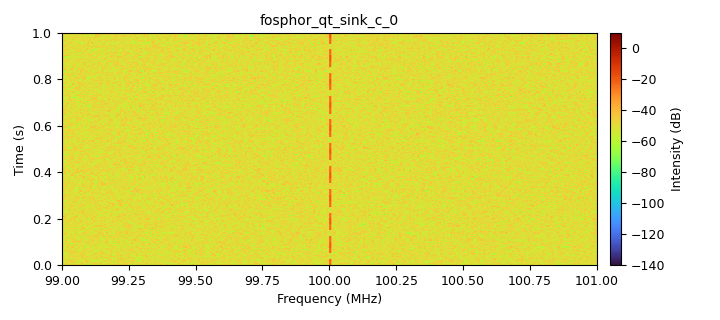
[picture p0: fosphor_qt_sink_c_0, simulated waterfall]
options:
  parameters:
    generate_options: qt_gui
    id: untitled
    output_language: python
    title: Not titled yet
  states: {}

blocks:
- name: dBm_ref_0dBFS
  id: variable
  parameters:
    value: dBm_ref_0dBFS_at_rf_gain_max + (rf_gain_max - rf_gain)
  states: {}
- name: dBm_ref_0dBFS_at_rf_gain_max
  id: variable
  parameters:
    value: '-50'
  states: {}
- name: freq_square
  id: variable_qtgui_range
  parameters:
    start: '0'
    step: '1'
    stop: '100'
    value: '10'
  states: {}
- name: rf_freq
  id: variable_qtgui_range
  parameters:
    start: 50e6
    step: 10e6
    stop: 6e9
    value: 100e6
  states: {}
- name: rf_gain
  id: variable_qtgui_range
  parameters:
    start: '0'
    step: '1'
    stop: rf_gain_max
    value: rf_gain_max
  states: {}
- name: rf_gain_max
  id: variable
  parameters:
    value: '60'
  states: {}
- name: rms_noise_dB
  id: variable_qtgui_range
  parameters:
    start: '-100'
    step: '1'
    stop: '20'
    value: '-20'
  states: {}
- name: rms_signal_dB
  id: variable_qtgui_range
  parameters:
    start: '-100'
    step: '1'
    stop: '20'
    value: '-20'
  states: {}
- name: samp_rate
  id: variable
  parameters:
    value: 1000*1000*2
  states: {}
- name: throttle_
  id: variable
  parameters:
    value: samp_rate
  states: {}
- name: waterfall_ms
  id: variable
  parameters:
    value: 1000*1024*976/samp_rate
  states: {}
- name: windowing_correction_dB
  id: variable
  parameters:
    value: '2'
  states: {}
- name: analog_const_source_x_0
  id: analog_const_source_x
  parameters:
    const: pow(10, rms_signal_dB/20)
    type: complex
  states: {}
- name: analog_const_source_x_0_0
  id: analog_const_source_x
  parameters:
    const: pow(10, rms_noise_dB/20)
    type: complex
  states: {}
- name: analog_fastnoise_source_x_0
  id: analog_fastnoise_source_x
  parameters:
    amp: '1'
    noise_type: analog.GR_GAUSSIAN
    samples: '8192'
    seed: '0'
    type: complex
  states: {}
- name: analog_sig_source_x_0
  id: analog_sig_source_x
  parameters:
    amp: '1'
    freq: freq_square
    offset: '0'
    phase: '0'
    samp_rate: samp_rate
    type: complex
    waveform: analog.GR_SQR_WAVE
  states: {}
- name: blocks_add_xx_0
  id: blocks_add_xx
  parameters:
    type: complex
  states: {}
- name: blocks_multiply_const_vxx_0
  id: blocks_multiply_const_vxx
  parameters:
    const: windowing_correction_dB
    type: complex
  states: {}
- name: blocks_multiply_const_vxx_0_0
  id: blocks_multiply_const_vxx
  parameters:
    const: pow(10, -(rf_gain_max - rf_gain)/20)
    type: complex
  states: {}
- name: blocks_multiply_xx_0
  id: blocks_multiply_xx
  parameters:
    type: complex
  states: {}
- name: blocks_multiply_xx_0_0
  id: blocks_multiply_xx
  parameters:
    type: complex
  states: {}
- name: blocks_throttle2_0
  id: blocks_throttle2
  parameters:
    samples_per_second: throttle_
    type: complex
  states: {}
- name: fosphor_glfw_sink_c_0
  id: fosphor_glfw_sink_c
  parameters:
    dBm_ref_0dBFS: dBm_ref_0dBFS
    freq_center: rf_freq
    freq_span: samp_rate
  states: {state: disabled}
- name: fosphor_qt_sink_c_0
  id: fosphor_qt_sink_c
  parameters:
    dBm_ref_0dBFS: dBm_ref_0dBFS
    freq_center: rf_freq
    freq_span: samp_rate
  states: {}

connections:
- [analog_const_source_x_0, '0', blocks_multiply_xx_0, '1']
- [analog_const_source_x_0_0, '0', blocks_multiply_xx_0_0, '0']
- [analog_fastnoise_source_x_0, '0', blocks_multiply_xx_0_0, '1']
- [analog_sig_source_x_0, '0', blocks_multiply_xx_0, '0']
- [blocks_add_xx_0, '0', blocks_multiply_const_vxx_0_0, '0']
- [blocks_multiply_const_vxx_0, '0', fosphor_glfw_sink_c_0, '0']
- [blocks_multiply_const_vxx_0, '0', fosphor_qt_sink_c_0, '0']
- [blocks_multiply_const_vxx_0_0, '0', blocks_throttle2_0, '0']
- [blocks_multiply_xx_0, '0', blocks_add_xx_0, '1']
- [blocks_multiply_xx_0_0, '0', blocks_add_xx_0, '0']
- [blocks_throttle2_0, '0', blocks_multiply_const_vxx_0, '0']

metadata:
  file_format: 1
  grc_version: 3.10.9.2
